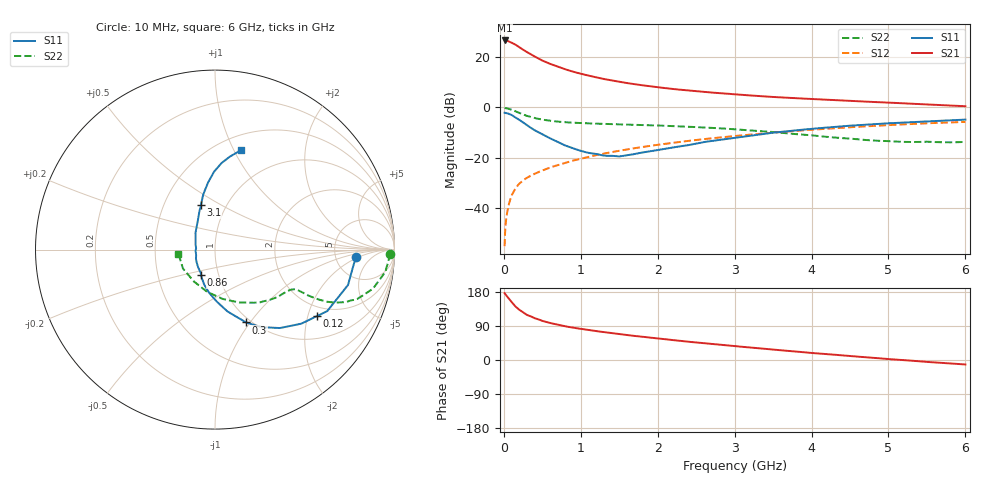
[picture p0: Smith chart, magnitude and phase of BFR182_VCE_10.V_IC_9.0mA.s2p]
! Infineon Technologies  Discrete & RF Semiconductors
! BFR182
! VCE =  10. V,  IC =  9.0 mA
! Common Emitter S-Parameters:  Nov 2015
# GHz  S  MA  R  50
!  f  S11  S21  S12  S22
! GHz  MAG  ANG  MAG  ANG  MAG  ANG  MAG  ANG
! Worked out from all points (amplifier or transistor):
!   210 points, 10 MHz to 6 GHz, reference 50 ohm
!   highest |S21| = 26.8 dB at 10 MHz (marker M1)
!   |S21| within 3 dB of that: start of sweep to 216.1 MHz
!   unconditionally stable (mu >= 1): 883.5 MHz to 2.906 GHz
!   at 185 MHz: K = 0.47, MSG = 27.7 dB, |S12| = -31.0 dB
!   at 1.52 GHz: K = 1.05, MAG = 12.4 dB, |S12| = -17.2 dB
!   at 6 GHz: K = 0.89, MSG = 3.1 dB, |S12| = -5.8 dB
!   S11 on the Smith chart (normalised r, x): 10 MHz: 7.95, -1.77; 120 MHz: 1.66, -2.28; 300 MHz: 0.95, -0.96; 860 MHz: 0.83, -0.24; 3.1 GHz: 0.76, +0.40; 6 GHz: 0.65, +1.07
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0.01  0.7862 -3.1  21.8 176.3  0.0017 82.3  0.9776 -1.4
0.02  0.7775 -6.0  21.73 173.4  0.0041 84.4  0.9706 -3.1
0.05  0.7668 -14.9  21.35 165.6  0.0091 79.5  0.9568 -7.5
0.1  0.7132 -28.7  19.76 153.2  0.0173 75.5  0.9067 -13.9
0.12  0.6777 -33.2  18.97 148.6  0.02 73.0  0.879 -15.9
0.15  0.6332 -40.7  18.04 141.1  0.024 70.2  0.8397 -19.1
0.2  0.5672 -50.4  16.04 132.7  0.03 68.5  0.7792 -22.1
0.24  0.5145 -57.3  14.59 126.8  0.0338 66.8  0.7369 -23.6
0.3  0.4413 -66.9  12.8 119.0  0.0394 66.4  0.6797 -25.2
0.4  0.3514 -78.6  10.44 110.4  0.0474 65.4  0.6143 -26.0
0.5  0.29 -88.0  8.652 103.2  0.0551 65.4  0.5722 -26.2
0.6  0.243 -97.8  7.448 97.7  0.0633 66.3  0.5436 -26.1
0.7  0.2045 -107.0  6.535 92.9  0.0706 66.6  0.5221 -26.1
0.86  0.161 -118.7  5.41 86.7  0.0837 66.8  0.5009 -26.3
1.02  0.1337 -135.6  4.637 81.6  0.0964 66.8  0.4876 -27.0
1.4  0.1085 -177.2  3.468 71.0  0.1279 66.0  0.4654 -30.0
1.7  0.1176 156.1  2.913 63.5  0.154 64.5  0.4506 -33.0
2.02  0.1431 139.3  2.517 56.5  0.1814 62.3  0.4359 -37.3
3.1  0.2597 107.6  1.783 34.8  0.2782 53.0  0.3578 -55.7
4.1  0.3862 94.8  1.45 17.1  0.3681 42.6  0.268 -84.6
5.1  0.4915 84.7  1.231 1.1  0.4535 30.9  0.2085 -128.3
6  0.5728 75.4  1.059 -11.9  0.5152 18.9  0.2053 -173.4
